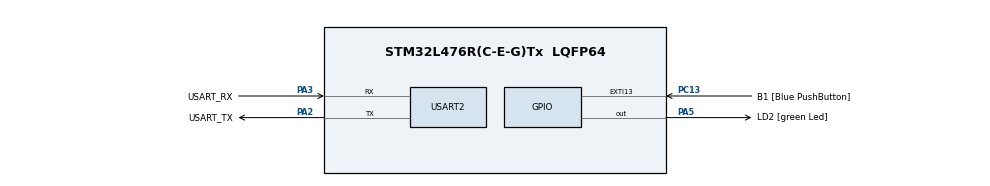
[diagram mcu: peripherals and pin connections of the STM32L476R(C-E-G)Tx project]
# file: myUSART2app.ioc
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Dma.Request0=USART2_RX
Dma.Request1=USART2_TX
Dma.USART2_RX.0.Direction=DMA_PERIPH_TO_MEMORY
Dma.USART2_RX.0.Instance=DMA1_Channel6
Dma.USART2_RX.0.MemDataAlignment=DMA_MDATAALIGN_BYTE
Dma.USART2_RX.0.MemInc=DMA_MINC_ENABLE
Dma.USART2_RX.0.Mode=DMA_NORMAL
Dma.USART2_RX.0.PeriphDataAlignment=DMA_PDATAALIGN_BYTE
Dma.USART2_RX.0.PeriphInc=DMA_PINC_DISABLE
Dma.USART2_RX.0.Priority=DMA_PRIORITY_LOW
Dma.USART2_TX.1.Direction=DMA_MEMORY_TO_PERIPH
Dma.USART2_TX.1.Instance=DMA1_Channel7
Dma.USART2_TX.1.MemDataAlignment=DMA_MDATAALIGN_BYTE
Dma.USART2_TX.1.MemInc=DMA_MINC_ENABLE
Dma.USART2_TX.1.Mode=DMA_NORMAL
Dma.USART2_TX.1.PeriphDataAlignment=DMA_PDATAALIGN_BYTE
Dma.USART2_TX.1.PeriphInc=DMA_PINC_DISABLE
Dma.USART2_TX.1.Priority=DMA_PRIORITY_LOW
Mcu.Family=STM32L4
Mcu.Name=STM32L476R(C-E-G)Tx
Mcu.Package=LQFP64
NVIC.DMA1_Channel6_IRQn=true\:0\:0\:false\:false\:true\:false\:true
NVIC.DMA1_Channel7_IRQn=true\:0\:0\:false\:false\:true\:false\:true
NVIC.PriorityGroup=NVIC_PRIORITYGROUP_4
NVIC.USART2_IRQn=true\:0\:0\:false\:false\:true\:true\:true
PA13\ (JTMS-SWDIO).GPIO_Label=TMS
PA13\ (JTMS-SWDIO).Mode=Serial_Wire
PA13\ (JTMS-SWDIO).Signal=SYS_JTMS-SWDIO
PA14\ (JTCK-SWCLK).GPIO_Label=TCK
PA14\ (JTCK-SWCLK).Mode=Serial_Wire
PA14\ (JTCK-SWCLK).Signal=SYS_JTCK-SWCLK
PA2.GPIO_Label=USART_TX
PA2.GPIO_Mode=GPIO_MODE_AF_PP
PA2.GPIO_PuPd=GPIO_NOPULL
PA2.GPIO_Speed=GPIO_SPEED_FREQ_VERY_HIGH
PA2.Mode=Asynchronous
PA2.Signal=USART2_TX
PA3.GPIO_Label=USART_RX
PA3.GPIO_Mode=GPIO_MODE_AF_PP
PA3.GPIO_PuPd=GPIO_NOPULL
PA3.GPIO_Speed=GPIO_SPEED_FREQ_VERY_HIGH
PA3.Mode=Asynchronous
PA3.Signal=USART2_RX
PA5.GPIO_Label=LD2 [green Led]
PA5.GPIO_ModeDefaultOutputPP=GPIO_MODE_OUTPUT_PP
PA5.GPIO_PuPd=GPIO_NOPULL
PA5.GPIO_Speed=GPIO_SPEED_FREQ_LOW
PA5.Signal=GPIO_Output
PB3\ (JTDO-TRACESWO).GPIO_Label=SWO
PB3\ (JTDO-TRACESWO).Signal=SYS_JTDO-SWO
PC13.GPIO_Label=B1 [Blue PushButton]
PC13.GPIO_ModeDefaultEXTI=GPIO_MODE_IT_FALLING
PC13.GPIO_PuPd=GPIO_NOPULL
PC13.Signal=GPXTI13
PC14-OSC32_IN\ (PC14).Mode=LSE-External-Oscillator
PC14-OSC32_IN\ (PC14).Signal=RCC_OSC32_IN
PC15-OSC32_OUT\ (PC15).Mode=LSE-External-Oscillator
PC15-OSC32_OUT\ (PC15).Signal=RCC_OSC32_OUT
PH0-OSC_IN\ (PH0).Signal=RCC_OSC_IN
PH1-OSC_OUT\ (PH1).Signal=RCC_OSC_OUT
ProjectManager.HeapSize=0x200
ProjectManager.StackSize=0x400
ProjectManager.TargetToolchain=SW4STM32
RCC.ADCFreq_Value=64000000
RCC.AHBFreq_Value=80000000
RCC.APB1Freq_Value=80000000
RCC.APB1TimFreq_Value=80000000
RCC.APB2Freq_Value=80000000
RCC.APB2TimFreq_Value=80000000
RCC.CortexFreq_Value=80000000
RCC.HCLKFreq_Value=80000000
RCC.HSE_VALUE=8000000
RCC.HSI_VALUE=16000000
RCC.MSI_VALUE=4000000
RCC.PLLN=10
RCC.PLLSourceVirtual=RCC_PLLSOURCE_HSI
RCC.PREFETCH_ENABLE=1
RCC.SYSCLKFreq_VALUE=80000000
RCC.SYSCLKSource=RCC_SYSCLKSOURCE_PLLCLK
RCC.USBFreq_Value=64000000
RCC.VCOOutputFreq_Value=160000000
USART2.VirtualMode-Asynchronous=VM_ASYNC
board=NUCLEO-L476RG

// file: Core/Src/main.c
/* USER CODE BEGIN Header */
/**
  ******************************************************************************
  * @file         : main.c
  * @brief          :Carnival of Crystals RPG - CPE 2200 Term Project
  ******************************************************************************
  * @attention
  *
  * This game presents the user with a math question. It is played over the serial interface.
  * The user can reset the game with the on-board reset button of the NUCLEO board.
  * Baud Rate = 115200
  *
  * Copyright (c) 2023 STMicroelectronics.
  * Copyright (c) 2023 Dr. Billy Kihei, for CPE 2200
  * All rights reserved.
  *
  * This software is licensed under terms that can be found in the LICENSE file
  * in the root directory of this software component.
  * If no LICENSE file comes with this software, it is provided AS-IS.
  *
  ******************************************************************************
  */
/* USER CODE END Header */
#include "main.h"
#include "dialogue.h"
#include "stm32_init.h"

/* USER CODE BEGIN Includes */
#include <stdio.h>
#include <string.h>
#include <stdlib.h>
#include <stdarg.h>
/* USER CODE END Includes */

/* USER CODE BEGIN PD */
#define SCORE_FLASH_ADDR 0x0807F000
/* USER CODE END PD */

/* USER CODE BEGIN PTD */
typedef struct {
    char name[20];
    uint16_t points;
} ScoreEntry;

typedef enum {
    STATE_TITLE, STATE_SCORES, STATE_DIFFICULTY, STATE_CHAR_SELECT,
    STATE_INTRO, STATE_HUB, STATE_LAZER_TAG, STATE_FASHION,
    STATE_PIE_CONTEST, STATE_COASTER_CRASH, STATE_BASEMENT,
    STATE_BEDROOM, STATE_INFIRMARY, STATE_FINAL_BOSS, STATE_END, STATE_ENGINEROOM, STATE_SAVE_SCORE,
	STATE_POST_GAME, STATE_QUIT
} GameState_t;
/* USER CODE END PTD */

UART_HandleTypeDef huart2;
GameState_t currentState = STATE_TITLE;
volatile uint8_t dataAvail = 0;
char rx_buff[1];
char name_temp[20];
uint8_t name_index = 0;
static uint8_t inputLocked = 0;
volatile uint32_t rBuffer = 0;

uint16_t totalPoints = 0;
uint8_t selectedDifficulty = 0;
uint8_t inventory[2] = {0, 0};
ScoreEntry highScores[5];
int scoreCount = 0;
uint8_t playerChar = 0;
uint8_t fashionPoints = 0;

char maze_map[100] = "Visited: Start";

/* USER CODE BEGIN PFP */
extern int assembly_mash_counter(int timer_val);
void UART_Print(const char* str);
void SortScores(void);
void UART_Printf(const char* fmt, ...);

/* USER CODE END PFP */

int main(void)
{
	char mathPrompt[128];
   static uint8_t needsNewQuestion = 1;
	    static uint8_t lazerStep = 1;
	    static uint16_t lazerPoints = 0;
	    static uint8_t fashionStep = 0;
	    static uint8_t chosenHat = 0;
	    static uint8_t fashionScore = 0;
	    static uint8_t pieStep = 0;
	    static uint32_t startTime = 0;
	    static int correctAns = 0;
	    static int questionsSolved = 0;
	    static char ops_easy[] = {'+', '-'};
	    static char ops_hard[] = {'+', '-', '*', '/'};
	    static char pieAnsBuf[12];
	    static uint8_t pieAnsIdx = 0;
	    static uint8_t battleScore = 0;
	    static uint8_t results = 0;
        static uint8_t checkedBed = 0;
        static uint8_t checkedDesk = 0;
        static uint8_t checkedShelf = 0;
    	static uint8_t battlePoints = 0;
    	static uint8_t infirmaryCleared = 0;
    	static uint32_t stateLockTime = 0;
    	static uint8_t bossStep = 0;
    	static uint8_t prevBossStep = 225;

	HAL_Init();
	uint32_t seed = 0;
	seed ^= HAL_GetTick();
	seed ^= *(volatile uint32_t*)0x1FFF7A10; // unique STM32 device ID (low word)
	seed ^= *(volatile uint32_t*)0x1FFF7A14; // device ID (mid word)

	srand(seed);
	SystemClock_Config();
	MX_GPIO_Init();
	MX_DMA_Init();
	MX_USART2_UART_Init();

	memcpy(highScores, (void*)SCORE_FLASH_ADDR, sizeof(highScores));

	    if (highScores[0].points == 0xFFFF) {
	        memset(highScores, 0, sizeof(highScores));
	        scoreCount = 0;
	    } else {

	        scoreCount = 0;
	        for(int i=0; i<5; i++) {
	            if(highScores[i].points != 0) scoreCount++;
	        }
	    }

	HAL_UART_Receive_IT(&huart2, (uint8_t*)rx_buff, 1);
	UART_Print("\033[2J\033[H");

  while (1)
  {
	  if (inputLocked && (HAL_GetTick() - stateLockTime >= 3000)) {
	      inputLocked = 0;
	      currentState = STATE_COASTER_CRASH;
	  }

	static GameState_t prevState = (GameState_t)255;
	uint8_t stateChanged = (currentState != prevState);
	prevState = currentState;

	static uint8_t prevFashionStep = 255;
	static uint8_t prevPieStep = 255;

    switch(currentState) {
        case STATE_TITLE:
        	if (stateChanged) {
        		UART_Print(TitleArt);
        		UART_Print("\r\nMAIN MENU\r\n-1. Start Game\r\n-2. Past Scores\r\n-3. Quit\r\n");
        	}
            if(dataAvail) {
                if(rx_buff[0] == '1') currentState = STATE_DIFFICULTY;
                else if(rx_buff[0] == '2') currentState = STATE_SCORES;
                else if(rx_buff[0] == '3') currentState = STATE_QUIT;
                dataAvail = 0;
            }
            break;

        case STATE_SCORES:
        	if (stateChanged) {
        		UART_Print("\r\n=== PAST SCORES ===\r\n");
        		SortScores();
        		for(int i=0; i<scoreCount; i++) {
        			char scoreLine[50];
        			sprintf(scoreLine, "%d pts..... %s\r\n", highScores[i].points, highScores[i].name);
        			UART_Print(scoreLine);
        		}
        		if(scoreCount == 0) UART_Print("(No scores recorded yet)\r\n");
        		UART_Print("\r\n-1. Clear Scores | -2. Back to Main Menu\r\n");
        	}
        	if (dataAvail) {

        	    char c = rx_buff[0];
        	    dataAvail = 0;

        	    if (c == '2') {
        	        currentState = STATE_TITLE;
        	    }

        	    else if (c == '1') {
        	        memset(highScores, 0, sizeof(highScores));
        	        scoreCount = 0;
        	        saveScoresToFlash();
        	        UART_Print("Scores Cleared!\r\n");
        	    }
        	}
            break;

        case STATE_DIFFICULTY:
        	if (stateChanged) {
        		UART_Print("\r\nChoose your Difficulty:\r\n-1. Easy\r\n-2. Hard\r\n");
        	}
            if(dataAvail) {
                selectedDifficulty = (rx_buff[0] == '2') ? 1 : 0;
                currentState = STATE_CHAR_SELECT;
                dataAvail = 0;
            }
            break;

        case STATE_CHAR_SELECT:
        	if (stateChanged) {
        		UART_Print("\r\nChoose your Character:\r\n");
        		UART_Print("-1. Drical: A half giant, half dragonborn sorcerer, coming from royalty with a fashion sense to prove how blue that blood is.\r\n");
        		UART_Print("-2. Sotlas: A snake-like rouge, loyal to his loved ones, but is scarce to show how much he cares.\r\n");
        		UART_Print("-3. Noel: A young, tech savvy elf, chosen by a goddess to save the home he’s come to love using his warlock powers. A Champion.\r\n");
        	}

            if(dataAvail) {
                    if(rx_buff[0] == '1') playerChar = 1;
                    else if(rx_buff[0] == '2') playerChar = 2;
                    else if(rx_buff[0] == '3') playerChar = 3;
                    currentState = STATE_INTRO;
                    dataAvail = 0;
            }
            break;

        case STATE_INTRO:
        	if (stateChanged) {
        		UART_Print(IntroParagraph);
        		currentState = STATE_HUB;
        	}
            break;

        case STATE_HUB:
        	if (stateChanged) {
        		UART_Print(CarnivalArt);
        		UART_Print("\r\nWhere would you like to head to?\r\n-1. Lazer Tag\r\n-2. Fashion Contest\r\n-3. Let's look somewhere else [no return]\r\n");
        	}
            if(dataAvail) {
                if(rx_buff[0] == '1') currentState = STATE_LAZER_TAG;
                if(rx_buff[0] == '2') currentState = STATE_FASHION;
                if(rx_buff[0] == '3') {currentState = STATE_PIE_CONTEST;
                pieStep = 0;
                needsNewQuestion = 1;}
                dataAvail = 0;

            }
            break;

        case STATE_LAZER_TAG:
                    if (stateChanged) {
                        UART_Print("\r\nYou get strapped into a harness and given a laser gun, before stepping into the maze-like arena.\r\n");
                        lazerStep = 1;
                        lazerPoints = 0;
                        memset(maze_map, 0, sizeof(maze_map));
                        strcpy(maze_map, "Visited: Start");
                        UART_Print("\r\nInfront of you, there are three options: left, forward, and right. Which way do you go?\r\n");
                        UART_Print("1.left | 2.forward | 3.right | 4.check map | 5.give up\r\n\r\n");
                    }

                    if (dataAvail) {
                        char move = rx_buff[0];
                        dataAvail = 0;

                        if (move == '5') {
                            UART_Print("\r\nYou can’t help but surrender, calling out for a carnie to come assist you out. You earned 0 points…\r\n");
                            lazerPoints = 0;
                            lazerStep = 1;
                            currentState = STATE_HUB;
                        }
                        else if (move == '4') {
                            UART_Print("\r\nMAP: ");
                            UART_Print(maze_map);
                            UART_Print("\r\n1.left | 2.forward | 3.right | 4.check map | 5.give up\r\n\r\n");
                        }
                        else if (move == '1' || move == '2' || move == '3') {

                            if (strlen(maze_map) > 85) {
                                strcpy(maze_map, "Visited: ...rest of map too long...");
                            }

                            if (selectedDifficulty == 0) {
                                if (lazerStep == 1) {
                                    if (move == '2') {
                                        UART_Print("\r\nYou pass someone as you barrel forward, managing to hit their target! Seems like the right way. \r\n");
                                        lazerPoints++; lazerStep++; strcat(maze_map, " -> F(O)");
                                    } else if (move == '1') {
                                        UART_Print("\r\nYou were sure of your answer, until you’re ambushed by the enemy! They shoot you, and you’re forced to retreat.\r\n");
                                        if (lazerPoints > 0) lazerPoints--; strcat(maze_map, " -> L(X)");
                                    } else {
                                        UART_Print("\r\nYou find yourself at a dead end and make your way back.\r\n");
                                        strcat(maze_map, " -> R(X)");
                                    }
                                }
                                else if (lazerStep == 2) {
                                    if (move == '3') {
                                        UART_Print("\r\nYou pass someone as you barrel forward, managing to hit their target! Seems like the right way. \r\n");
                                        lazerPoints++; lazerStep++; strcat(maze_map, " -> R(O)");
                                    } else if (move == '1') {
                                        UART_Print("\r\nYou were sure of your answer, until you’re ambushed by the enemy! They shoot you, and you’re forced to retreat.\r\n");
                                        if (lazerPoints > 0) lazerPoints--; strcat(maze_map, " -> L(X)");
                                    } else {
                                        UART_Print("\r\nYou find yourself at a dead end and make your way back.\r\n");
                                        strcat(maze_map, " -> F(X)");
                                    }
                                }
                                else if (lazerStep == 3) {
                                    if (move == '3') {
                                    	lazerPoints++;
                                        UART_Printf("\r\nYou made it out, earning %d points!\r\n", lazerPoints);
                                        totalPoints += lazerPoints; lazerStep = 1; currentState = STATE_HUB;
                                    } else if (move == '2') {
                                        UART_Print("\r\nYou were sure of your answer, until you’re ambushed by the enemy! They shoot you, and you’re forced to retreat.\r\n");
                                        if (lazerPoints > 0) lazerPoints--; strcat(maze_map, " -> F(X)");
                                    } else {
                                        UART_Print("\r\nYou find yourself at a dead end and make your way back.\r\n");
                                        strcat(maze_map, " -> L(X)");
                                    }
                                }
                            }

                            else if (selectedDifficulty == 1) {
                                if (lazerStep == 1) {
                                    if (move == '1') {
                                        UART_Print("\r\nYou pass someone as you barrel forward, managing to hit their target! Seems like the right way. \r\n");
                                        lazerPoints++; lazerStep++; strcat(maze_map, " -> L(O)");
                                    } else if (move == '2') {
                                        UART_Print("\r\nYou were sure of your answer, until you’re ambushed by the enemy! They shoot you, and you’re forced to retreat.\r\n");
                                        if (lazerPoints > 0) lazerPoints--; strcat(maze_map, " -> F(X)");
                                    } else {
                                        UART_Print("\r\nYou find yourself at a dead end and make your way back.\r\n");
                                        strcat(maze_map, " -> R(X)");
                                    }
                                }
                                else if (lazerStep == 2) {
                                    if (move == '2') {
                                        UART_Print("\r\nYou pass someone as you barrel forward, managing to hit their target! Seems like the right way. \r\n");
                                        lazerPoints++; lazerStep++; strcat(maze_map, " -> F(O)");
                                    } else if (move == '3') {
                                        UART_Print("\r\nYou were sure of your answer, until you’re ambushed by the enemy! They shoot you, and you’re forced to retreat.\r\n");
                                        if (lazerPoints > 0) lazerPoints--; strcat(maze_map, " -> R(X)");
                                    } else {
                                        UART_Print("\r\nYou find yourself at a dead end and make your way back.\r\n");
                                        strcat(maze_map, " -> L(X)");
                                    }
                                }
                                else if (lazerStep == 3) {
                                    if (move == '1') {
                                        UART_Print("\r\nYou pass someone as you barrel forward, managing to hit their target! Seems like the right way. \r\n");
                                        lazerPoints++; lazerStep++; strcat(maze_map, " -> L(O)");
                                    } else if (move == '2') {
                                        UART_Print("\r\nYou were sure of your answer, until you’re ambushed by the enemy! They shoot you, and you’re forced to retreat.\r\n");
                                        if (lazerPoints > 0) lazerPoints--; strcat(maze_map, " -> F(X)");
                                    } else {
                                        UART_Print("\r\nYou find yourself at a dead end and make your way back.\r\n");
                                        strcat(maze_map, " -> R(X)");
                                    }
                                }
                                else if (lazerStep == 4) {
                                    if (move == '3') {
                                        UART_Print("\r\nYou pass someone as you barrel forward, managing to hit their target! Seems like the right way. \r\n");
                                        lazerPoints++; lazerStep++; strcat(maze_map, " -> R(O)");
                                    } else if (move == '2') {
                                        UART_Print("\r\nYou were sure of your answer, until you’re ambushed by the enemy! They shoot you, and you’re forced to retreat.\r\n");
                                        if (lazerPoints > 0) lazerPoints--; strcat(maze_map, " -> F(X)");
                                    } else {
                                        UART_Print("\r\nYou find yourself at a dead end and make your way back.\r\n");
                                        strcat(maze_map, " -> L(X)");
                                    }
                                }
                                else if (lazerStep == 5) {
                                    if (move == '2') {
                                    	lazerPoints++;
                                        UART_Printf("\r\nYou made it out, earning %d points!\r\n", lazerPoints);
                                        totalPoints += lazerPoints; lazerStep = 1; currentState = STATE_HUB;
                                    } else if (move == '3') {
                                        UART_Print("\r\nYou were sure of your answer, until you’re ambushed by the enemy! They shoot you, and you’re forced to retreat.\r\n");
                                        if (lazerPoints > 0) lazerPoints--; strcat(maze_map, " -> R(X)");
                                    } else {
                                        UART_Print("\r\nYou find yourself at a dead end and make your way back.\r\n");
                                        strcat(maze_map, " -> L(X)");
                                    }
                                }
                            }

                            if (currentState == STATE_LAZER_TAG) {
                                UART_Print("\r\nWhere would you like to go next?\r\n");
                                UART_Print("1.left | 2.forward | 3.right | 4.check map | 5.give up\r\n");
                            }
                        }
                    }
                    break;

        case STATE_FASHION:
                    if (stateChanged) {
                        UART_Print("\r\nYou cant fight off your curiosity as you make your way to the dress up stage, writing your name on the contestant list, before being escorted to a changing tent.\r\nTry to match the best outfit, from accessories to pants!\r\n");
                        fashionScore = 0;
                        fashionStep = 0;
                        prevFashionStep = 255;
                    }

                    switch(fashionStep) {
                        case 0:
                            if (fashionStep != prevFashionStep) {
                                if (selectedDifficulty == 0) {
                                    UART_Print("\r\nYour choices for hats: (no points given this round, free)\r\n1. Top Hat\r\n2. Cap 'n' Bells\r\n3. Tiara\r\n");
                                } else {
                                    UART_Print("\r\nTry to match the style of your character!\r\n");
                                    UART_Print("1. A crown fit for royalty.\r\n2. A hood to keep your features a mystery.\r\n3. Headphones to listen to your favorite music.\r\n");
                                }
                                prevFashionStep = fashionStep;
                            }

                            if(dataAvail) {
                                chosenHat = rx_buff[0];
                                if(selectedDifficulty == 1 && chosenHat == (playerChar + '0')) fashionScore++;
                                fashionStep = 1;
                                dataAvail = 0;
                            }
                            break;

                        case 1:
                            if (fashionStep != prevFashionStep) {
                                if (selectedDifficulty == 0) {
                                    UART_Print("\r\nNow, match the top: (+1 point for matching the hat)\r\n1. Waistcoat\r\n2. Fitted Bodice\r\n3. Motley Tunic\r\n");
                                } else {
                                    UART_Print("\r\nMatch the top: \r\n1. A light, breathable tunic for your scales.\r\n2. A corset to really exaggerate your form.\r\n3. A tank top, showing off all your markings of a Champion.\r\n");
                                }
                                prevFashionStep = fashionStep;
                            }

                            if(dataAvail) {
                                char move = rx_buff[0];
                                if(selectedDifficulty == 0) {

                                    if(chosenHat == '1' && move == '1') fashionScore++;
                                    else if(chosenHat == '3' && move == '2') fashionScore++;
                                    else if(chosenHat == '2' && move == '3') fashionScore++;
                                } else {
                                    char expectedTop = (playerChar == 1) ? '2' : (playerChar == 2) ? '1' : '3';
                                    if(move == expectedTop) fashionScore++;
                                }
                                fashionStep = 2;
                                dataAvail = 0;
                            }
                            break;

                        case 2:
                            if (fashionStep != prevFashionStep) {
                                if (selectedDifficulty == 0) {
                                    UART_Print("\r\nAnd last, the bottoms: (+1 point for matching the hat)\r\n1. Particolored Breeches\r\n2. Full-A-line Skirt\r\n3. Trousers\r\n");
                                } else {
                                    UART_Print("\r\nMatch the bottoms: \r\n1. Cargo pants with large pockets to fit all your tech.\r\n2. jeans with patches all over from when your mom repaired them.\r\n3. Dress pants long enough to fit you.\r\n");
                                }
                                prevFashionStep = fashionStep;
                            }

                            if(dataAvail) {
                                char move = rx_buff[0];
                                if(selectedDifficulty == 0) {

                                    if (chosenHat == '2' && move == '1') fashionScore++;
                                    else if (chosenHat == '3' && move == '2') fashionScore++;
                                    else if (chosenHat == '1' && move == '3') fashionScore++;
                                } else {
                                    char expectedBottom = (playerChar == 1) ? '3' : (playerChar == 2) ? '2' : '1';
                                    if(move == expectedBottom) fashionScore++;
                                }
                                fashionStep = 3;
                                dataAvail = 0;
                            }
                            break;

                        case 3:
                            if (fashionStep != prevFashionStep) {
                                uint16_t earned = 0;
                                if (fashionScore == 0) {
                                    UART_Print("\r\nAs you stand in front of the judges, they give you strange looks at your attire. Seems like you didn’t impress, but they give you a point for trying.\r\n");
                                    earned = 1;
                                } else if ((selectedDifficulty == 0 && fashionScore == 1) || (selectedDifficulty == 1 && fashionScore < 3)) {
                                    UART_Print("\r\nAs you stand in front of the judges, they give you small smiles, but they just aren’t able to give you first place. You do get second, though, and earn 3 points.\r\n");
                                    earned = (selectedDifficulty == 1) ? 3 : 2;
                                } else {
                                    UART_Print("\r\nAs you stand in front of the judges, they look up at you in awe. They each hold up their board and display all 10’s. Congratulations, you won first place and gained 5 points!\r\n");
                                    earned = (selectedDifficulty == 1) ? 5 : 3;
                                }

                                totalPoints += earned;
                                prevFashionStep = fashionStep;
                                fashionScore = 0;
                                fashionStep = 0;
                                currentState = STATE_HUB;
                            }

                            dataAvail = 0;
                            break;
                            }
                    break;

                    case STATE_PIE_CONTEST:
                    {

                        static char pieAnsBuf[12];
                        static uint8_t questionsSolved = 0;
                        static uint8_t prevPieStep = 255;

                        if (stateChanged) {
                            pieStep = 0;
                            prevPieStep = 255;
                            needsNewQuestion = 1;

                            srand(HAL_GetTick() ^ pieStep ^ questionsSolved);

                            startTime = HAL_GetTick();
                            questionsSolved = 0;

                            correctAns = 0;
                            pieAnsIdx = 0;
                            memset(pieAnsBuf, 0, sizeof(pieAnsBuf));
                        }

                        if (pieStep == 0) {

                            if (pieStep != prevPieStep) {
                                UART_Print(Pie);
                                UART_Print(PieArt);
                                UART_Print("\r\nHit y when ready. ");
                                prevPieStep = pieStep;
                            }

                            if (dataAvail && rx_buff[0] == 'y') {
                                UART_Print("\r\nGO!\r\n");
                                startTime = HAL_GetTick();
                                questionsSolved = 0;
                                pieStep = 1;
                                needsNewQuestion = 1;
                                dataAvail = 0;
                            }

                            dataAvail = 0;
                        }

                        else if (pieStep == 1) {

                            uint32_t timeLimit = (selectedDifficulty == 0) ? 15000 : 10000;

                            if (HAL_GetTick() - startTime > timeLimit) {
                                pieStep = 2;
                            }

                            if (needsNewQuestion) {
                                needsNewQuestion = 0;

                                int a, b;
                                int type = rand() % (selectedDifficulty ? 3 : 2);

                                if (selectedDifficulty == 0) {
                                    a = (rand() % 30) + 1;
                                    b = (rand() % 30) + 1;

                                    if (rand() % 2 == 0) {
                                        correctAns = a + b;
                                        sprintf(mathPrompt, "\r\nSlices: %d + %d = ", a, b);
                                    } else {
                                        if (b > a) { int t = a; a = b; b = t; }
                                        correctAns = a - b;
                                        sprintf(mathPrompt, "\r\nSlices: %d - %d = ", a, b);
                                    }
                                }
                                else {
                                    if (type == 0) {
                                        a = (rand() % 10) + 1;
                                        b = (rand() % 10) + 1;
                                        correctAns = a * b;
                                        sprintf(mathPrompt, "\r\nSlices: %d * %d = ", a, b);
                                    }
                                    else if (type == 1) {
                                        a = (rand() % 30) + 1;
                                        b = (rand() % 30) + 1;
                                        correctAns = a + b;
                                        sprintf(mathPrompt, "\r\nSlices: %d + %d = ", a, b);
                                    }
                                    else {
                                        a = (rand() % 30) + 1;
                                        b = (rand() % 30) + 1;
                                        if (b > a) { int t = a; a = b; b = t; }
                                        correctAns = a - b;
                                        sprintf(mathPrompt, "\r\nSlices: %d - %d = ", a, b);
                                    }
                                }

                                UART_Print(mathPrompt);
                            }

                            if (dataAvail) {
                                char c = rx_buff[0];
                                dataAvail = 0;

                                if (c == '\r' || c == '\n') {

                                    if (pieAnsIdx > 0) {
                                        int playerAns = atoi(pieAnsBuf);

                                        if (playerAns == correctAns) {
                                            UART_Print(" -> Correct!");
                                            questionsSolved++;
                                        } else {
                                            UART_Print(" -> Wrong!");
                                        }
                                    }

                                    correctAns = 0;
                                    memset(pieAnsBuf, 0, sizeof(pieAnsBuf));
                                    pieAnsIdx = 0;
                                    needsNewQuestion = 1;
                                }

                                else if ((c >= '0' && c <= '9') || (c == '-' && pieAnsIdx == 0)) {
                                    if (pieAnsIdx < sizeof(pieAnsBuf) - 1) {
                                        pieAnsBuf[pieAnsIdx++] = c;
                                        char out[2] = { c, '\0' };
                                        UART_Print(out);
                                    }
                                }

                                else if (c == '\b' || c == 127) {
                                    if (pieAnsIdx > 0) {
                                        pieAnsIdx--;
                                        pieAnsBuf[pieAnsIdx] = '\0';
                                        UART_Print("\b \b");
                                    }
                                }
                            }
                        }

                        else if (pieStep == 2) {

                            if (pieStep != prevPieStep) {

                                if (questionsSolved <= 2) {
                                    UART_Print("\r\nTry as you may you’re still not able to come out in first place. You ended up landing in third place, earning 1 point…\r\n");
                                    totalPoints += 1;
                                }
                                else if (questionsSolved <= 4) {
                                    UART_Print("\r\nTry as you may, you’re still not able to come out in first place. You ended up landing in second place, earning 2 points. Not bad!\r\n");
                                    totalPoints += 2;
                                }
                                else {
                                    UART_Print("\r\nAs the competition starts bailing out around you, you end up gaining more confidence and speed while scarfing down these pies. In the end, you placed first, raising your fist in victory and earning 3 points!\r\n");
                                    totalPoints += 3;
                                }

                                inputLocked = 1;
                                stateLockTime = HAL_GetTick();
                                prevPieStep = pieStep;
                            }

                            dataAvail = 0;
                        }

                        break;
                    }

            case STATE_COASTER_CRASH:
                if (stateChanged) {
                    UART_Print(RollerCoaster);
                    UART_Print("\r\nNot wanting to harm innocent civilians, you decide it is best to make an opening, then run to cover. And "
                               "considering basic zombie logic, you probably shouldn’t get too close to them. What do you do?\r\n");

                    if (selectedDifficulty == 0) {
                        UART_Print("\r\n1. Use a sword to jab your way through.\r\n2. Chant a spell to draw them back.\r\n3. Ram through the crowd behind a shield\r\n4. Draw your bow and arrow to take them down.\r\n");
                    } else {
                        UART_Print("\r\nWhat are zombies weak too? \r\n1. Fire damage\r\n2. Necrotic damage\r\n3. Radiant damage\r\n4. Poison damage\r\n");
                    }
                }

                if (dataAvail) {
                    battleScore = 0;

                    if (selectedDifficulty == 0) {
                        if (rx_buff[0] == '1') battleScore = 0;
                        else if (rx_buff[0] == '2') battleScore = 3;
                        else if (rx_buff[0] == '3') battleScore = 1;
                        else if (rx_buff[0] == '4') battleScore = 2;
                    } else {
                        if (rx_buff[0] == '1') battleScore = 3;
                        else if (rx_buff[0] == '2') battleScore = 2;
                        else if (rx_buff[0] == '3') battleScore = 4;
                        else if (rx_buff[0] == '4') battleScore = 1;
                    }

                    UART_Printf("\r\nYou stick with your choice and manage to make your way through the hoard with your crew, earning %d points.\r\n", battleScore);
                    totalPoints += battleScore;
                    currentState = STATE_BASEMENT;
                    UART_Print(Basement);
                    dataAvail = 0;
                }
                break;

        case STATE_BASEMENT:
        	if (stateChanged) {
        		UART_Print("\r\nWhich room would you like to enter?\r\n");
        		UART_Print("\r\n1. Bedroom | 2. Infirmary | 3. Engine Room\r\n");
        	}
            if(dataAvail) {
                if(rx_buff[0] == '1') currentState = STATE_BEDROOM;
                if(rx_buff[0] == '2') {
                	if (infirmaryCleared) {
                		UART_Print("\r\nYou locked the door behind you, remember? Best not to go back in there.\r\n");
                	} else {
                		currentState = STATE_INFIRMARY;
                	}
                }
                if(rx_buff[0] == '3') currentState = STATE_ENGINEROOM;
                dataAvail = 0;
            }
            break;

        case STATE_BEDROOM:

            if (stateChanged) {
                UART_Print("\r\n1You knock on the door, expecting the ringleader to be inside, but it seems to be empty. You make your way inside to search for clues.\r\n");
                UART_Print("\r\nWhere would you like to search?\r\n");
                UART_Print("\r\n1. Bookshelf\r\n2. Bed\r\n3. Desk\r\n4. Exit\r\n");
            }

            if (dataAvail) {

                char c = rx_buff[0];
                dataAvail = 0;

                if (c == '1') {

                    if (checkedShelf == 0) {
                        UART_Print("\r\nYou search the shelves for anything useful, but it just looks like a personal collection. The dust makes you sneeze.\r\n");
                        checkedShelf++;
                    } else {
                        UART_Print("\r\nYou don’t feel the need to sneeze again.\r\n");
                    }

                }

                else if (c == '2') {

                    if (checkedBed == 0) {
                        UART_Print(Bed);
                        inventory[0] = 1;
                        checkedBed++;
                    } else {
                        UART_Print("\r\nRifling through someone’s bed seems invasive.\r\n");
                    }

                }

                else if (c == '3') {

                    if (checkedDesk == 0) {
                        UART_Print("\r\nWalking over to the desk, you see some paper strewn on top. Not understanding any of the business documents, you decide to leave it alone and move on to the drawers. Opening the lowest one, you find a book labeled ‘College.’ \r\nFlipping open the pages, ");
                        UART_Print(Desk);
                        checkedDesk++;
                    } else {
                        UART_Print("\r\nWalking back over to the desk, you open the book to read over the passages again. ");
                        UART_Print(Desk);
                    }

                }

                else if (c == '4') {
                    currentState = STATE_BASEMENT;
                }

                UART_Print("\r\nWhere would you like to search?\r\n1. Bookshelf\r\n2. Bed\r\n3. Desk\r\n4. Exit\r\n");
            }

            break;

        case STATE_INFIRMARY:

        	if (stateChanged) {
        		UART_Print(Dragon);
        		UART_Print(DragonArt);
        		UART_Print("\r\nHow do you want to do this?\r\n");
        		if (selectedDifficulty == 0) {
        			UART_Print("\r\n-1. Use a sword to pierce through the scales\r\n-2. Chant a spell to rain down on him.\r\n-3. Sheild yourself from the fiery attacks\r\n-4. Draw your bow and arrow to take them down.\r\n");
        		} else {
        			UART_Print("\r\nWhats effective against dragons? \r\n1. Physical damage\r\n2. Lightning damage\r\n3. Psychic damage\r\n4. Fire damage\r\n");
        		}
        	}

                	if (dataAvail) {
                		battleScore = 0;

                		if (selectedDifficulty == 0) {
                			if (rx_buff[0] == '1') battleScore = 3;
                			else if (rx_buff[0] == '2') battleScore = 0;
                			else if (rx_buff[0] == '3') battleScore = 2;
                			else if (rx_buff[0] == '4') battleScore = 1;
                		} else {
                			if (rx_buff[0] == '1') battleScore = 3;
                			else if (rx_buff[0] == '2') battleScore = 2;
                			else if (rx_buff[0] == '3') battleScore = 4;
                			else if (rx_buff[0] == '4') battleScore = 1;
                		}

                		UART_Printf("\r\nThe battle is challenging, most of your attacks not getting through thick skin, but with enough chipping, the dragon falls to his knees in defeat. You earned %d points.", battleScore);
    	                totalPoints += battleScore;
                        UART_Print(Medicine);
                        inventory[1] = 1;
                        infirmaryCleared = 1;
                        currentState = STATE_BASEMENT;
                        dataAvail = 0;
                	}
                    break;

        case STATE_ENGINEROOM:
            if (stateChanged) {
                UART_Print("\r\nYou make your way up to the door, but as you go to open it, the handle jerks in response. Locked.\r\n"
                           "Looks like you need a key. And you should probably find a cure...\r\n");

            if (inventory[0] == 1 && inventory[1] == 1) {
                UART_Print("\r\n1. Unlock door\r\n2. Go Back\r\n");
            } else {
                UART_Print("\r\n1. Go back\r\n");
            }
            }

            if (dataAvail) {
                char c = rx_buff[0];
                dataAvail = 0;

                if (inventory[0] == 1 && inventory[1] == 1) {
                    if (c == '1') currentState = STATE_FINAL_BOSS;
                    else if (c == '2') currentState = STATE_BASEMENT;
                } else {
                    if (c == '1') currentState = STATE_BASEMENT;
                }
            }
            break;

        case STATE_FINAL_BOSS: {

            static uint32_t bossTimer = 0;
            static uint32_t pauseTimer = 0;
            static uint8_t mashPoints = 0;
            static uint8_t phaseActive = 0;

            if (stateChanged) {
                bossStep = 0;
                results = 0;
                prevBossStep = 255;
                phaseActive = 0;
                rBuffer = 0;
            }

            if (bossStep == 0) {

                if (bossStep != prevBossStep) {
                    UART_Print(EngineRoom);
                    UART_Print("\r\nHow do you attack?\r\n-1. Resist (MASH 'r')\r\n-2. Jump behind them\r\n");
                    prevBossStep = bossStep;
                }

                if (dataAvail) {
                    char c = rx_buff[0];
                    dataAvail = 0;

                    if (c == '1') {
                        mashPoints = 0;
                        rBuffer = 0;
                        bossTimer = HAL_GetTick();
                        phaseActive = 1;
                        UART_Print("\r\nGO!\r\n");
                    } else {
                        bossStep = 1;
                    }
                }

                if (phaseActive) {

                    if (HAL_GetTick() - bossTimer < 5000) {
                        mashPoints = rBuffer;
                    } else {
                        phaseActive = 0;
                        rBuffer = 0;

                        results += (mashPoints >= (selectedDifficulty ? 30 : 20)) ? 3 : 2;

                        UART_Print("\r\nGood mashing!\r\n");
                        pauseTimer = HAL_GetTick();
                        bossStep = 1;
                    }
                }
            }

            else if (bossStep == 1) {

                if (bossStep != prevBossStep) {
                    UART_Print("\r\nAnother teammate jumps in to save your friend, how do you respond?\r\n-1. Pull your ally in\r\n-2. Resist (MASH 'r')\r\n");
                    prevBossStep = bossStep;
                }

                if (dataAvail) {
                    char c = rx_buff[0];
                    dataAvail = 0;

                    if (c == '2') {
                        mashPoints = 0;
                        rBuffer = 0;
                        bossTimer = HAL_GetTick();
                        phaseActive = 1;
                        UART_Print("\r\nGO!\r\n");
                    } else {
                        bossStep = 2;
                    }
                }

                if (phaseActive) {

                    if (HAL_GetTick() - bossTimer < 5000) {
                        mashPoints = rBuffer;
                    } else {
                        phaseActive = 0;
                        rBuffer = 0;

                        results += (mashPoints >= (selectedDifficulty ? 35 : 25)) ? 3 : 2;

                        UART_Print("\r\nGood mashing!\r\n");
                        pauseTimer = HAL_GetTick();
                        bossStep = 2;
                    }
                }
            }

            else if (bossStep == 2) {

                if (bossStep != prevBossStep) {
                    UART_Print("\r\nAfter fighting them off, your last ally aims at The General. What do you do?\r\n-1. Resist (MASH 'r')\r\n-2. Take them out first.\r\n");
                    prevBossStep = bossStep;
                }

                if (dataAvail) {
                    char c = rx_buff[0];
                    dataAvail = 0;

                    if (c == '1') {
                        mashPoints = 0;
                        rBuffer = 0;
                        bossTimer = HAL_GetTick();
                        phaseActive = 1;
                        UART_Print("\r\nGO!\r\n");
                    } else {
                        bossStep = 3;
                    }
                }

                if (phaseActive) {

                    if (HAL_GetTick() - bossTimer < 5000) {
                        mashPoints = rBuffer;
                    } else {
                        phaseActive = 0;
                        rBuffer = 0;

                        results += (mashPoints >= (selectedDifficulty ? 40 : 30)) ? 3 : 2;

                        UART_Print("\r\nGood mashing!\r\n");
                        pauseTimer = HAL_GetTick();
                        bossStep = 3;
                    }
                }
            }

            else if (bossStep == 3) {

                if (HAL_GetTick() - pauseTimer >= 1500) {

                    UART_Print("\r\n=== BOSS COMPLETE ===\r\n");

                    totalPoints += results;

                    if (results >= 8)
                        UART_Print(GoodEnd);
                    else
                        UART_Print(BadEnd);

                    currentState = STATE_END;
                }
            }

            break;
        }

        case STATE_END:
        	if (stateChanged) {
        		UART_Print("\r\n=== GAME OVER ===\r\n");
        		char finalPts[64];
        		sprintf(finalPts, "Final Score: %d points\r\n", totalPoints);
        		UART_Print(finalPts);
        		UART_Print("Want to save your score?\r\n-1. Yes\r\n-2. No\r\n");
        	}

            if(dataAvail) {
                if(rx_buff[0] == '1') {
                    currentState = STATE_SAVE_SCORE;
                    UART_Print("\r\nPlease insert your name and press ENTER: ");
                    name_index = 0; //
                    memset(name_temp, 0, sizeof(name_temp));
                } else {
                	currentState = STATE_POST_GAME;
                }
                dataAvail = 0;
            }
            break;

        case STATE_SAVE_SCORE:
        {
            if (dataAvail) {
                char c = rx_buff[0];
                dataAvail = 0;

                if (c == '\r' || c == '\n') {
                    name_temp[name_index] = '\0';

                    if (scoreCount < 5) {
                        strcpy(highScores[scoreCount].name, name_temp);
                        highScores[scoreCount].points = totalPoints;
                        scoreCount++;
                    } else {
                        SortScores();
                        if (totalPoints > highScores[4].points) {
                            strcpy(highScores[4].name, name_temp);
                            highScores[4].points = totalPoints;
                        }
                    }

                    UART_Print("\r\nScore Saved!\r\n");
                    SortScores();
                    saveScoresToFlash();
                    currentState = STATE_POST_GAME;
                }

                else if (c == 127 || c == '\b') {
                    if (name_index > 0) {
                        name_index--;
                        name_temp[name_index] = '\0';
                        UART_Print("\b \b");
                    }
                }

                else if (c >= 32 && c <= 126) {
                    if (name_index < 19) {
                        name_temp[name_index++] = c;
                        char out[2] = {c, '\0'};
                        UART_Print(out);
                    }
                }
            }
        }
        break;
        case STATE_POST_GAME:
        	if (stateChanged) {
        		UART_Print("\r\nWould you like to restart the adventure, or quit?\r\n-1. Restart\r\n-2. Quit\r\n");
        	}
        	if (dataAvail) {
        		if (rx_buff[0] == '1') {

        		    totalPoints = 0;
        		    selectedDifficulty = 0;
        		    playerChar = 0;

        		    inventory[0] = 0;
        		    inventory[1] = 0;

        		    infirmaryCleared = 0;

        		    checkedBed = 0;
        		    checkedDesk = 0;
        		    checkedShelf = 0;

        			currentState = STATE_TITLE;
        		} else if (rx_buff[0] == '2') {
        			currentState = STATE_QUIT;
        		}
        		dataAvail = 0;
        	}
        	break;

        case STATE_QUIT:
        	if (stateChanged) {
        		UART_Print("\r\nSee you later! You can restart the game by pressing the reset button.\r\n");

    }
            break;
    }
  }
}

/* Helper Functions */
void UART_Print(const char* str) {
    uint16_t len = (uint16_t)strlen(str);
    HAL_UART_Transmit(&huart2, (uint8_t*)str, len, HAL_MAX_DELAY);
}

void UART_Printf(const char* fmt, ...) {
    char buf[256];
    va_list args;
    va_start(args, fmt);
    vsnprintf(buf, sizeof(buf), fmt, args);
    va_end(args);
    UART_Print(buf);}

void SortScores(void) {

    for(int i=0; i<scoreCount-1; i++) {
        for(int j=0; j<scoreCount-i-1; j++) {
            if(highScores[j].points < highScores[j+1].points) {
                ScoreEntry temp = highScores[j];
                highScores[j] = highScores[j+1];
                highScores[j+1] = temp;
            }
        }
    }
}

void HAL_UART_RxCpltCallback(UART_HandleTypeDef *huart)
{
    char c = rx_buff[0];

    if (c == 'r') {
        rBuffer++;
        dataAvail = 0;
    } else {
        dataAvail = 1;
    }

    HAL_UART_Receive_IT(&huart2, (uint8_t*)rx_buff, 1);
}

void saveScoresToFlash(void) {
    FLASH_EraseInitTypeDef erase;
    uint32_t pageError;

    HAL_FLASH_Unlock();

    erase.TypeErase = FLASH_TYPEERASE_PAGES;
    erase.Banks = FLASH_BANK_1;
    erase.Page = 254;
    erase.NbPages = 1;

    if (HAL_FLASHEx_Erase(&erase, &pageError) != HAL_OK) {
        UART_Print("Flash Erase Error!\r\n");
        HAL_FLASH_Lock();
        return;
    }

    uint64_t *src = (uint64_t*)highScores;
    uint32_t address = SCORE_FLASH_ADDR;

    int num_chunks = sizeof(highScores) / 8;
    if (sizeof(highScores) % 8 != 0) num_chunks++;

    for (int i = 0; i < num_chunks; i++) {
        if (HAL_FLASH_Program(FLASH_TYPEPROGRAM_DOUBLEWORD, address, src[i]) == HAL_OK) {
            address += 8;
        } else {
            UART_Print("Flash Write Error!\r\n");
            break;
        }
    }

    HAL_FLASH_Lock();
}
